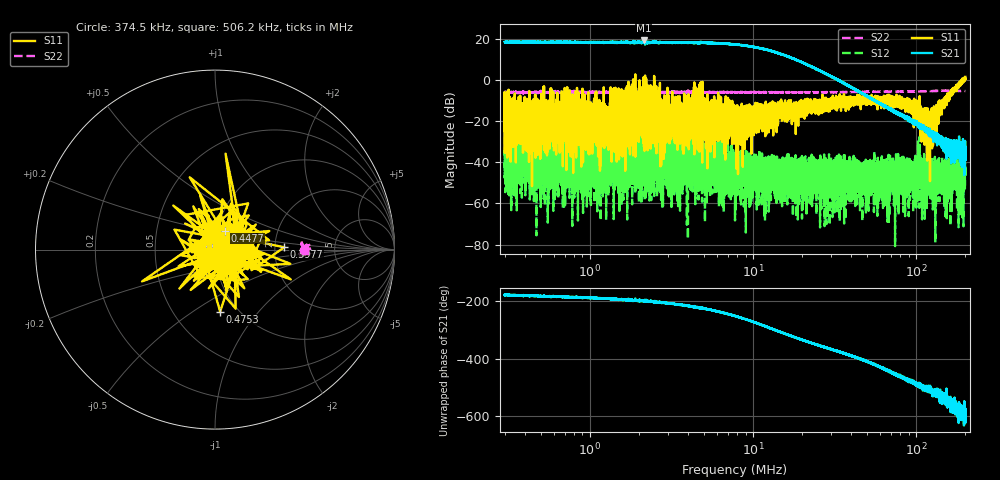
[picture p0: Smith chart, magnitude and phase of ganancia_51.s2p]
# Hz S DB R 50
! CMT, M5065, 19127446, 24.2.4/2
! Date: 11/1/2024 3:44:24 PM
! Data: Format (Calibration Info)
! Freq	S11:dB/Ang(F2)	S21:dB/Ang(F2)	S12:dB/Ang(F2)	S22:dB/Ang(F2)
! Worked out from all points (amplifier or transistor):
!   9000 points, 300 kHz to 200 MHz, reference 50 ohm
!   highest |S21| = 19.2 dB at 2.132 MHz (marker M1)
!   |S21| within 3 dB of that: start of sweep to 9.72 MHz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
!   unconditionally stable (mu >= 1): 2.562 MHz to 3.569 MHz; 4.902 MHz to 190.9 MHz; 191.6 MHz to 192.8 MHz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
!   at 886.8 kHz: K = 2.63, MAG = 19.7 dB, |S12| = -35.1 dB
!   at 7.749 MHz: K = 130.73, MAG = 18.6 dB, |S12| = -68.2 dB
!   at 200 MHz: K = -1378.01, MSG = 6.8 dB, |S12| = -46.7 dB
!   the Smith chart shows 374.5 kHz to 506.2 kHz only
!   S11 on the Smith chart (normalised r, x): 374.5 kHz: 1.21, -0.13; 397.7 kHz: 2.26, +0.07; 447.7 kHz: 1.09, +0.23; 475.3 kHz: 0.83, -0.65; 506.2 kHz: 1.16, -0.32
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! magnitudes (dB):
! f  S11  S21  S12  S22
! 300 kHz  -24.9  18.4  -34.1  -5.8
! 319.2 kHz  -9.5  18.3  -39.7  -5.9
! 374.5 kHz  -19.1  18.3  -39.4  -6.1
! 397.7 kHz  -8.3  18.2  -32.9  -6.2
! 447.7 kHz  -18.5  18.3  -38.4  -6.0
! 475.3 kHz  -9.2  18.4  -26.5  -6.2
! 506.2 kHz  -15.7  18.4  -45.2  -6.0
! 886.8 kHz  -17.3  18.3  -35.1  -5.9
! 1.346 MHz  -11.9  18.4  -30.2  -5.8
! 1.54 MHz  -19.2  18.2  -52.9  -6.0
! 2.132 MHz  1.3  19.2  -27.6  -6.2
! 2.621 MHz  -24.9  18.2  -45.6  -6.1
! 3.118 MHz  -14.5  18.2  -40.1  -6.0
! 4.282 MHz  -18.4  18.0  -44.4  -6.0
! 5.196 MHz  -21.1  17.9  -49.9  -6.0
! 7.749 MHz  -17.5  17.2  -68.2  -6.0
! 22.91 MHz  -13.4  6.3  -43.9  -5.9
! 67.71 MHz  -10.5  -13.9  -70.3  -5.7
! 93.32 MHz  -11.2  -20.2  -47.3  -5.7
! 120.1 MHz  -20.3  -26.0  -46.8  -5.5
! 141.4 MHz  -10.3  -29.8  -44.1  -5.3
! 200 MHz  1.5  -33.0  -46.7  -5.4
